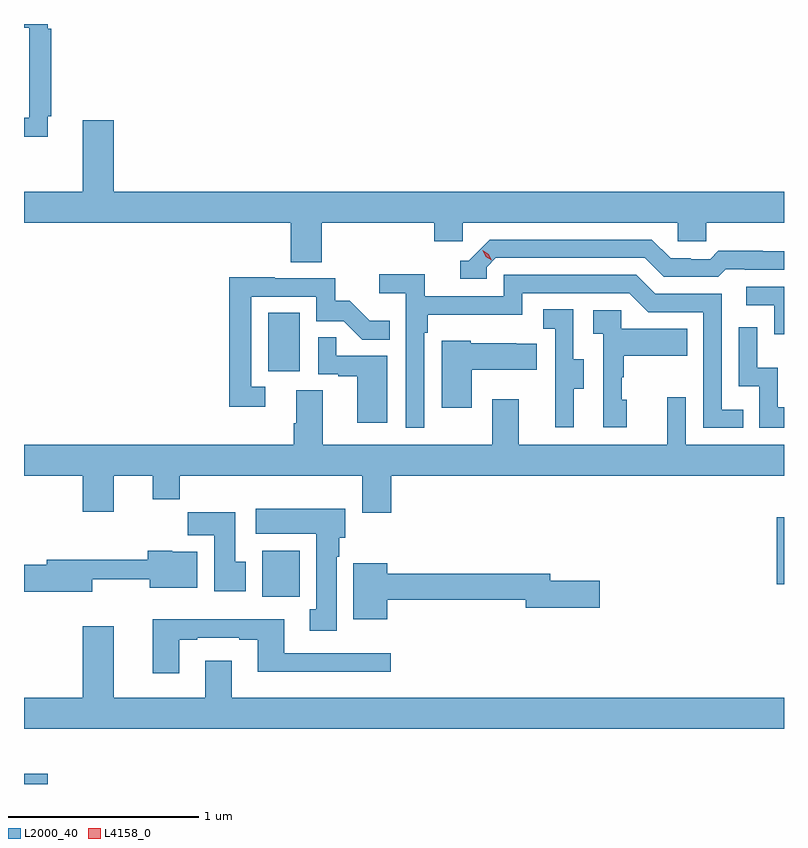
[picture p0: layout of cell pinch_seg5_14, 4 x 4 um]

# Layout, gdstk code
import gdstk
lib = gdstk.Library(unit=1e-6, precision=1e-09)
def R(c, l, rs):  # rectangles x0, y0, x1, y1
    for r in rs: c.add(gdstk.rectangle(r[:2], r[2:], *l))
def P(c, l, *ps):  # polygons
    for p in ps: c.add(gdstk.Polygon(p, *l))
L2000_40 = (2000, 40)
L4158_0 = (4158, 0)

pinch_seg5_14 = lib.new_cell('pinch_seg5_14')
R(pinch_seg5_14, L2000_40, [(1123.74,911.082,1123.864,911.137), (1124.993,912.068,1125.19,912.31), (1127.702,912.134,1127.74,912.487), (1125.026,913.254,1125.19,913.561)])
P(pinch_seg5_14, L2000_40, [(1123.865,914.596),(1123.883,914.596),(1123.883,915.056),(1123.865,915.056),(1123.865,915.082),(1123.74,915.082),(1123.74,915.063),(1123.767,915.063),(1123.767,914.589),(1123.74,914.589),(1123.74,914.488),(1123.865,914.488)],
  [(1125.308,914.036),(1125.899,914.036),(1125.899,913.938),(1126.05,913.938),(1126.05,914.036),(1127.181,914.036),(1127.181,913.938),(1127.331,913.938),(1127.331,914.036),(1127.74,914.036),(1127.74,914.2),(1124.212,914.2),(1124.212,914.575),(1124.048,914.575),(1124.048,914.2),(1123.74,914.2),(1123.74,914.036),(1125.143,914.036),(1125.143,913.828),(1125.308,913.828)],
  [(1126.176,913.803),(1126.224,913.851),(1127.007,913.851),(1127.106,913.752),(1127.395,913.752),(1127.434,913.791),(1127.533,913.791),(1127.533,913.788),(1127.74,913.788),(1127.74,913.885),(1127.628,913.885),(1127.628,913.888),(1127.395,913.888),(1127.353,913.845),(1127.25,913.845),(1127.25,913.848),(1127.143,913.848),(1127.044,913.947),(1126.191,913.947),(1126.08,913.836),(1126.037,913.836),(1126.037,913.74),(1126.176,913.74)],
  [(1125.846,913.457),(1125.866,913.457),(1125.866,913.553),(1126.362,913.553),(1126.362,913.665),(1126.926,913.665),(1127.025,913.566),(1127.316,913.566),(1127.316,912.957),(1127.525,912.957),(1127.525,913.053),(1127.412,913.053),(1127.412,913.662),(1127.062,913.662),(1126.963,913.761),(1126.266,913.761),(1126.266,913.65),(1125.848,913.65),(1125.848,913.766),(1125.609,913.766),(1125.609,913.664),(1125.75,913.664),(1125.75,912.957),(1125.846,912.957)],
  [(1125.01,913.173),(1124.937,913.173),(1124.937,913.647),(1125.279,913.647),(1125.279,913.518),(1125.423,913.518),(1125.521,913.42),(1125.665,913.42),(1125.665,913.519),(1125.561,913.519),(1125.454,913.626),(1125.378,913.626),(1125.378,913.743),(1125.059,913.743),(1125.059,913.748),(1124.821,913.748),(1124.821,913.068),(1125.01,913.068)],
  [(1127.74,913.698),(1127.541,913.698),(1127.541,913.602),(1127.688,913.602),(1127.688,913.449),(1127.74,913.449)],
  [(1126.633,913.162),(1126.687,913.162),(1126.687,913.317),(1126.632,913.317),(1126.632,913.58),(1126.473,913.58),(1126.473,913.477),(1126.536,913.477),(1126.536,913.173),(1126.535,913.173),(1126.535,912.96),(1126.633,912.96)],
  [(1126.912,913.104),(1126.887,913.104),(1126.887,913.223),(1126.897,913.223),(1126.897,913.337),(1127.231,913.337),(1127.231,913.477),(1126.884,913.477),(1126.884,913.575),(1126.737,913.575),(1126.737,913.451),(1126.788,913.451),(1126.788,912.96),(1126.912,912.96)],
  [(1127.74,913.066),(1127.708,913.066),(1127.708,913.274),(1127.598,913.274),(1127.598,913.486),(1127.502,913.486),(1127.502,913.176),(1127.61,913.176),(1127.61,912.957),(1127.74,912.957)],
  [(1125.652,913.335),(1125.383,913.335),(1125.383,913.433),(1125.288,913.433),(1125.288,913.239),(1125.395,913.239),(1125.395,913.227),(1125.494,913.227),(1125.494,912.984),(1125.652,912.984)],
  [(1126.096,913.262),(1126.439,913.262),(1126.439,913.399),(1126.331,913.399),(1126.331,913.402),(1126.092,913.402),(1126.092,913.414),(1125.938,913.414),(1125.938,913.062),(1126.096,913.062)],
  [(1125.674,912.704),(1127.74,912.704),(1127.74,912.868),(1127.223,912.868),(1127.223,913.117),(1127.126,913.117),(1127.126,912.868),(1126.345,912.868),(1126.345,913.108),(1126.205,913.108),(1126.205,912.868),(1125.313,912.868),(1125.313,913.154),(1125.173,913.154),(1125.173,912.98),(1125.161,912.98),(1125.161,912.868),(1123.74,912.868),(1123.74,912.704),(1124.048,912.704),(1124.048,912.516),(1124.212,912.516),(1124.212,912.704),(1124.417,912.704),(1124.417,912.58),(1124.561,912.58),(1124.561,912.704),(1125.521,912.704),(1125.521,912.51),(1125.674,912.51)],
  [(1125.385,912.278),(1125.4,912.278),(1125.4,912.378),(1125.43,912.378),(1125.43,912.532),(1124.961,912.532),(1124.961,912.398),(1125.278,912.398),(1125.278,912.002),(1125.245,912.002),(1125.245,911.889),(1125.385,911.889)],
  [(1124.908,912.252),(1124.851,912.252),(1124.851,912.511),(1124.602,912.511),(1124.602,912.392),(1124.741,912.392),(1124.741,912.096),(1124.908,912.096)],
  [(1124.098,912.16),(1124.402,912.16),(1124.402,912.116),(1124.653,912.116),(1124.653,912.304),(1124.52,912.304),(1124.52,912.31),(1124.39,912.31),(1124.39,912.261),(1123.859,912.261),(1123.859,912.237),(1123.74,912.237),(1123.74,912.095),(1124.098,912.095)],
  [(1125.652,912.052),(1126.382,912.052),(1126.382,912.01),(1126.771,912.01),(1126.771,912.152),(1126.51,912.152),(1126.51,912.188),(1125.652,912.188),(1125.652,912.244),(1125.473,912.244),(1125.473,911.948),(1125.652,911.948)],
  [(1124.557,911.841),(1124.653,911.841),(1124.653,911.853),(1124.873,911.853),(1124.873,911.841),(1124.969,911.841),(1124.969,911.672),(1125.67,911.672),(1125.67,911.769),(1125.109,911.769),(1125.109,911.95),(1124.417,911.95),(1124.417,911.664),(1124.557,911.664)],
  [(1127.74,911.536),(1124.833,911.536),(1124.833,911.731),(1124.693,911.731),(1124.693,911.536),(1124.212,911.536),(1124.212,911.911),(1124.048,911.911),(1124.048,911.536),(1123.74,911.536),(1123.74,911.372),(1127.74,911.372)])
P(pinch_seg5_14, L4158_0, [(1126.201,913.838),(1126.17,913.858),(1126.154,913.89),(1126.154,913.89),(1126.154,913.89),(1126.185,913.871),(1126.201,913.839),(1126.201,913.838)])

lib.write_gds('pinch_seg5_14.gds')
